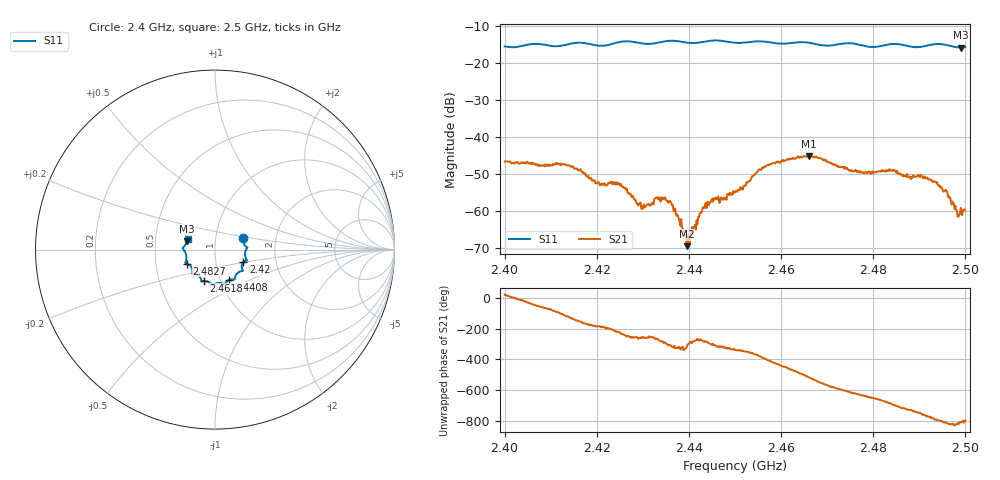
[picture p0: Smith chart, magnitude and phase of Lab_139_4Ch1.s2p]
# Hz S RI R
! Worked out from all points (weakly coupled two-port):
!   601 points, 2.4 GHz to 2.5 GHz, reference 50 ohm
!   highest |S21| = -45.11 dB at 2.466 GHz (marker M1); lowest = -69.5 dB at 2.4395 GHz (marker M2)
!   lowest |S11| = -15.8 dB at 2.499 GHz (marker M3), VSWR 1.38, Z = 36.5 + j3.52 ohm
!   |S11| at or under -10 dB: start of sweep to end of sweep
!   S12 and S22 are empty: the file has one direction only
!   S11 on the Smith chart (normalised r, x): 2.4 GHz: 1.36, +0.17; 2.42 GHz: 1.36, -0.19; 2.4408 GHz: 1.10, -0.39; 2.4618 GHz: 0.84, -0.30; 2.4827 GHz: 0.72, -0.12; 2.5 GHz: 0.73, +0.09
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2.4e9  0.156 0.0619  0.0043 0.00175  0 0  0 0
2.416667e9  0.1781 -0.0593  -0.00324 -0.00129  0 0  0 0
2.42e9  0.158 -0.0693  -0.00236 0.000152  0 0  0 0
2.424667e9  0.1542 -0.1119  -0.0018 0.00158  0 0  0 0
2.430167e9  0.1335 -0.125  -0.000298 0.00119  0 0  0 0
2.433333e9  0.1119 -0.1519  1.57e-06 0.00144  0 0  0 0
2.436e9  0.1106 -0.1663  0.000856 0.00103  0 0  0 0
2.4395e9  0.0922 -0.1649  0.000263 0.000207  0 0  0 0
2.44e9  0.0873 -0.1656  0.00018 0.000298  0 0  0 0
2.440833e9  0.0788 -0.1689  0.000131 0.000505  0 0  0 0
2.443667e9  0.0573 -0.187  0.000355 0.00124  0 0  0 0
2.45e9  0.0279 -0.1858  0.00168 0.000581  0 0  0 0
2.455667e9  -0.0136 -0.1956  0.00328 -0.00148  0 0  0 0
2.461833e9  -0.0602 -0.1749  -0.0012 -0.00492  0 0  0 0
2.466e9  -0.0761 -0.172  -0.0051 -0.00219  0 0  0 0
2.466667e9  -0.0768 -0.1685  -0.00539 -0.00119  0 0  0 0
2.475333e9  -0.1267 -0.1339  -0.000608 0.0035  0 0  0 0
2.482667e9  -0.1573 -0.0778  0.00259 0.00238  0 0  0 0
2.483333e9  -0.1613 -0.0763  0.00287 0.00192  0 0  0 0
2.493667e9  -0.1803 0.00713  0.000697 -0.00234  0 0  0 0
2.499e9  -0.1544 0.047  -5.62e-05 -0.0011  0 0  0 0
2.5e9  -0.1519 0.0616  0.000175 -0.001  0 0  0 0
